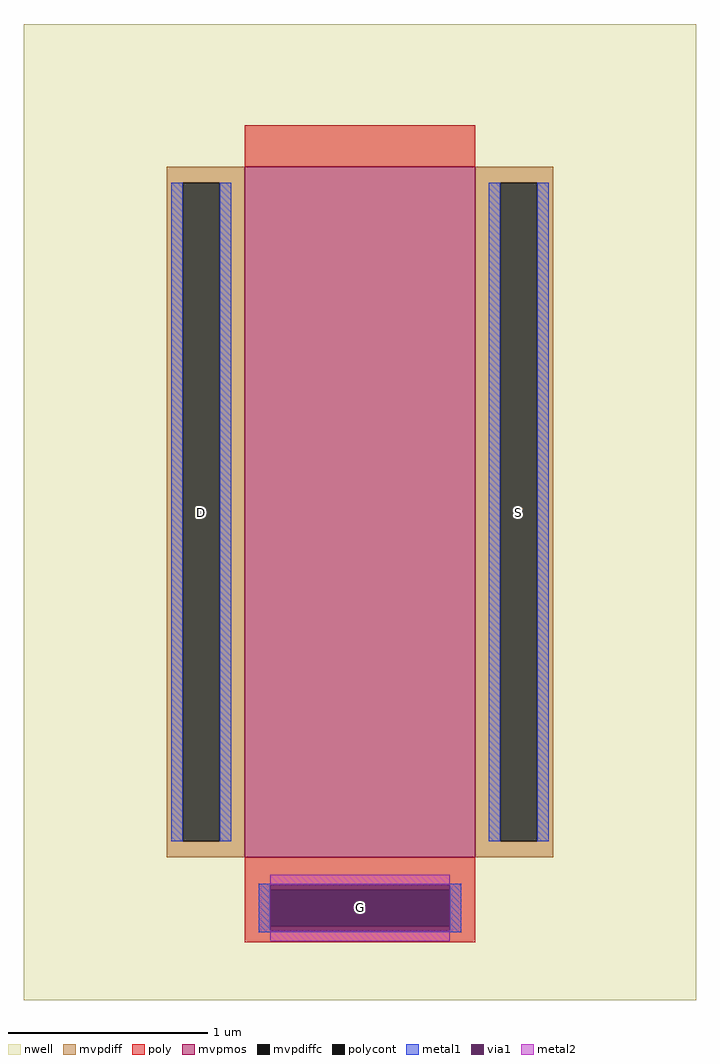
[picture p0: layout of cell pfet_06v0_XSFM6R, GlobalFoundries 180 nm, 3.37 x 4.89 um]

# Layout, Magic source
magic
tech gf180mcuD
magscale 3 26
<< nwell >>
rect -292 -405 292 443
<< mvpmos >>
rect -100 -281 100 319
<< mvpdiff >>
rect -168 305 -100 319
rect -168 -267 -154 305
rect -122 -267 -100 305
rect -168 -281 -100 -267
rect 100 305 168 319
rect 100 -267 122 305
rect 154 -267 168 305
rect 100 -281 168 -267
<< mvpdiffc >>
rect -154 -267 -122 305
rect 122 -267 154 305
<< poly >>
rect -100 319 100 355
rect -100 -309 100 -281
rect -100 -341 -78 -309
rect 78 -341 100 -309
rect -100 -355 100 -341
<< polycont >>
rect -78 -341 78 -309
<< metal1 >>
rect -164 -267 -154 305
rect -122 -267 -112 305
rect 112 -267 122 305
rect 154 -267 164 305
rect -88 -305 88 -304
rect -88 -345 -78 -305
rect 78 -345 88 -305
rect -88 -346 88 -345
<< via1 >>
rect -78 -309 78 -305
rect -78 -341 78 -309
rect -78 -345 78 -341
<< metal2 >>
rect -78 -305 78 -296
rect -78 -354 78 -345
<< labels >>
rlabel mvpdiffc -138 19 -138 19 0 D
port 1 nsew
rlabel mvpdiffc 138 19 138 19 0 S
port 2 nsew
rlabel polycont 0 -325 0 -325 0 G
port 3 nsew
<< properties >>
string gencell pfet_05v0
string library gf180mcu
string parameters w 3.0 l 1.0 m 1 ng 1 diffcov 100 polycov 100 guard 0 glc 1 grc 1 gtc 1 gbc 1 tbcov 100 rlcov 100 topc 0 botc 1 poverlap 0 doverlap 1 lmin 0.4 wmin 0.15 class mosfet compatible {pfet_05v0 pfet_06v0} full_metal 1 conn_gates 0 gate_ring 0 ccols 1 viasrc 0 viadrn 0 viagate 100 viagb 0 viagr 0 viagl 0 viagt 0 doports 1
<< end >>
